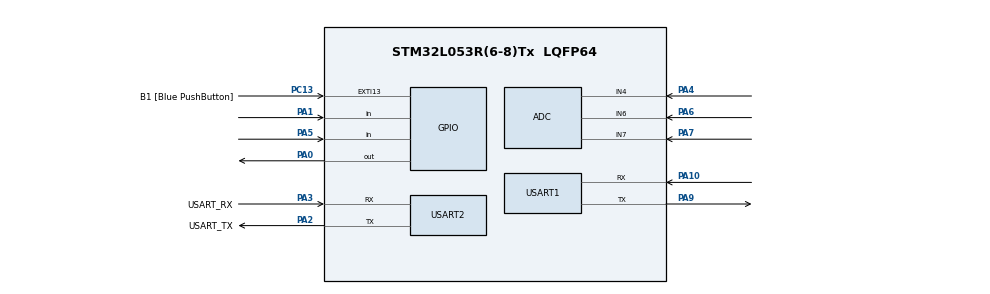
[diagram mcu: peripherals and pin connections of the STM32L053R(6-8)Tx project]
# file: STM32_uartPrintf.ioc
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ADC.ClockPrescaler=ADC_CLOCK_ASYNC_DIV16
ADC.SamplingTime=ADC_SAMPLETIME_160CYCLES_5
Mcu.Family=STM32L0
Mcu.Name=STM32L053R(6-8)Tx
Mcu.Package=LQFP64
NVIC.USART1_IRQn=true\:0\:0\:false\:false\:true\:true\:true\:true
NVIC.USART2_IRQn=true\:0\:0\:false\:false\:true\:true\:true\:true
PA0.Signal=GPIO_Output
PA1.GPIO_Mode=GPIO_MODE_INPUT
PA1.Signal=GPIO_Input
PA10.Mode=Asynchronous
PA10.Signal=USART1_RX
PA13.GPIO_Label=TMS
PA13.Mode=Serial_Wire
PA13.Signal=SYS_SWDIO
PA14.GPIO_Label=TCK
PA14.Mode=Serial_Wire
PA14.Signal=SYS_SWCLK
PA2.GPIO_Label=USART_TX
PA2.Mode=Asynchronous
PA2.Signal=USART2_TX
PA3.GPIO_Label=USART_RX
PA3.Mode=Asynchronous
PA3.Signal=USART2_RX
PA4.Mode=IN4
PA4.Signal=ADC_IN4
PA5.Signal=GPIO_Input
PA6.Mode=IN6
PA6.Signal=ADC_IN6
PA7.Mode=IN7
PA7.Signal=ADC_IN7
PA9.Mode=Asynchronous
PA9.Signal=USART1_TX
PC13.GPIO_Label=B1 [Blue PushButton]
PC13.GPIO_ModeDefaultEXTI=GPIO_MODE_IT_FALLING
PC13.Signal=GPXTI13
PC14-OSC32_IN.Mode=LSE-External-Oscillator
PC14-OSC32_IN.Signal=RCC_OSC32_IN
PC15-OSC32_OUT.Mode=LSE-External-Oscillator
PC15-OSC32_OUT.Signal=RCC_OSC32_OUT
PH0-OSC_IN.Mode=HSE-External-Clock-Source
PH0-OSC_IN.Signal=RCC_OSC_IN
PH1-OSC_OUT.Signal=RCC_OSC_OUT
ProjectManager.HeapSize=0x200
ProjectManager.StackSize=0x400
ProjectManager.TargetToolchain=STM32CubeIDE
RCC.AHBFreq_Value=16000000
RCC.APB1Freq_Value=16000000
RCC.APB1TimFreq_Value=16000000
RCC.APB2Freq_Value=16000000
RCC.APB2TimFreq_Value=16000000
RCC.HCLKFreq_Value=16000000
RCC.HSE_VALUE=8000000
RCC.HSI16_VALUE=16000000
RCC.HSI48_VALUE=48000000
RCC.HSI_VALUE=16000000
RCC.MSI_VALUE=2097000
RCC.SYSCLKFreq_VALUE=16000000
RCC.SYSCLKSource=RCC_SYSCLKSOURCE_HSI
RCC.VCOOutputFreq_Value=48000000
TIM6.Prescaler=15
USART1.VirtualMode-Asynchronous=VM_ASYNC
USART2.VirtualMode-Asynchronous=VM_ASYNC
VP_ADC_TempSens_Input.Mode=IN-TempSens
VP_ADC_Vref_Input.Mode=IN-Vrefint
VP_TIM6_VS_ClockSourceINT.Mode=Enable_Timer
board=NUCLEO-L053R8

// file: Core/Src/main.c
/* USER CODE BEGIN Header */
/**
 ******************************************************************************
 * @file           : main.c
 * @brief          : Main program body
 ******************************************************************************
 * @attention
 *
 * <h2><center>&copy; Copyright (c) 2020 STMicroelectronics.
 * All rights reserved.</center></h2>
 *
 * This software component is licensed by ST under BSD 3-Clause license,
 * the "License"; You may not use this file except in compliance with the
 * License. You may obtain a copy of the License at:
 *                        opensource.org/licenses/BSD-3-Clause
 *
 ******************************************************************************
 */
/* USER CODE END Header */
#include "main.h"
#include "adc.h"
#include "tim.h"
#include "usart.h"
#include "gpio.h"

/* USER CODE BEGIN Includes */
#include <stdio.h>
#include <retarget.h>
#include <getch.h>
/* USER CODE END Includes */

/* USER CODE BEGIN PV */
char *message;
uint8_t plant_hum;
uint8_t plant_bright;
uint8_t plant_temp;
uint8_t esp_status = 0;
uint8_t water_status = 0;
/* USER CODE END PV */

void SystemClock_Config(void);

/* USER CODE BEGIN 0 */
/**
 * @brief waterPlant - Active le transistor pour arroser la plante et affiche un message de confirmation sur la console série.
 *
 * @return void
 */
void waterPlant() {
	LL_GPIO_SetOutputPin(GPIOA, LL_GPIO_PIN_0);
	printf("Arrosage en cours...\r\n");
	HAL_Delay(4000);
	LL_GPIO_ResetOutputPin(GPIOA, LL_GPIO_PIN_0);
	printf("Arrosage effectué\r\n");
}

/**
 * @brief HAL_UART_RxCpltCallback - Fonction de callback appelée lorsque des données ont été reçues sur le port UART. Traite les données reçues en fonction de leur contenu. En cours de développement.
 *
 * @param *huart: pointeur vers le port huart
 *
 * @return void
 */
void HAL_UART_RxCpltCallback(UART_HandleTypeDef *huart) {
	printf("it works");
	// Traitement du message reçu
	if (strstr((char*) message, "restartModule") != NULL) {
		// Instructions pour redémarrer le module
		printf("Redémarrage");
	} else if (strstr((char*) message, "waterPlant") != NULL) {
		// Instructions pour arroser la plante
		waterPlant();
	}

	// Réinitialisation du message
	memset(message, 0, sizeof(message));

	// Préparation à la réception du prochain message
	HAL_UART_Receive_IT(&huart1, (uint8_t*) message, sizeof(message));
}

/**
 @brief Affiche le menu principal du programme MyGarden.
 Affiche les options disponibles pour l'utilisateur.
 Pour afficher la température appuyer sur 't'.
 Pour afficher l'humidité de la terre appuyer sur 'h'.
 Pour afficher le taux d'ensoleillement appuyer sur 'l'.
 Pour arroser la plante appuyer sur 'e'.
 */
void showMainMenu() {
	printf("\r\nMyGarden\r\n");
	printf("Pour afficher la température appuie sur : t\r\n");
	printf("Pour afficher l'humidité de la terre appuie sur : h\r\n");
	printf("Pour afficher le taux d'ensoleillement appuie sur : l\r\n");
	printf("Pour arroser la plante appuie sur : e\r\n");
}

/* USER CODE END 0 */

/**
 * @brief main - Fonction principale du programme.
 *
 * @return int
 */
int main(void) {

	/* MCU Configuration--------------------------------------------------------*/

	/* Reset of all peripherals, Initializes the Flash interface and the Systick. */
	HAL_Init();

	/* USER CODE BEGIN Init */
	__HAL_UART_ENABLE_IT(&huart1, UART_IT_RXNE); // flag receive
	__HAL_UART_ENABLE_IT(&huart1, UART_IT_TC); // flat Tx_IT

	/* USER CODE END Init */

	/* Configure the system clock */
	SystemClock_Config();

	/* Initialize all configured peripherals */
	MX_GPIO_Init();
	MX_USART2_UART_Init();
	MX_ADC_Init();
	MX_TIM6_Init();
	MX_USART1_UART_Init();
	/* USER CODE BEGIN 2 */
	RetargetInit(USART2);
	getchInit();
	LL_USART_EnableIT_RXNE(USART2);

	LL_ADC_Enable(ADC1);
	LL_ADC_SetCommonPathInternalCh(__LL_ADC_COMMON_INSTANCE(ADC1),
	LL_ADC_PATH_INTERNAL_TEMPSENSOR | LL_ADC_PATH_INTERNAL_VREFINT);
	printf("\x1B[2J"); //Clear console (putty)
	// Affiche les possibilités d'action
	showMainMenu();
	HAL_TIM_Base_Start(&htim6);

	MX_GPIO_Init();

	HAL_UART_Receive_IT(&huart1, (uint8_t*) message, sizeof(message));
	/* USER CODE END 2 */

	/* Infinite loop */
	/* USER CODE BEGIN WHILE */
	while (1) {
		if (kbhit()) //if one char received on USART2
		{
			char c = getch();
			if (c == 'h') {
				// humidité terre
				printf("\r\n");
				printf("Vous avez choisi h\r\n");
				printf("Humidité terre: %d%%\r\n", (int) plant_hum);

			} else if (c == 'l') {
				// lumiere
				printf("\r\n");
				printf("Vous avez choisi l\r\n");
				printf("Lumière: %d%%\r\n", plant_bright);

			} else if (c == 'e') {
				// envoie de l'eau
				printf("\r\n");
				printf("Vous avez choisi e\r\n");
				char data[100];
				sprintf(data, "{\"lastWatering\": \"now\"}\r\n");
				HAL_UART_Transmit(&huart1, data, sizeof(data), 150);
				waterPlant();

			} else if (c == 't') {
				// température
				printf("\r\n");
				printf("Vous avez choisi t\r\n");
				printf("Température: %d°C\r\n", plant_temp);

			} else {
				showMainMenu();

			}
		}
		if (esp_status) {
			esp_status = 0;
			char data[100];
			// Préparation du json à envoyer au broker mqtt
			sprintf(data,
					"{\"temperature\": \"%d\", \"dirtHumidity\": \"%d\",\"brightness\": \"%d\"}\r\n",
					plant_temp, plant_hum, plant_bright);
			HAL_UART_Transmit(&huart1, data, sizeof(data), 150);
		}
		if (water_status) {
			printf("\r\n");
			printf("Arrosage automatique car taux d'humidité < 30%% (taux actuel: %d)\r\n",
					water_status);
			water_status = 0;
			char data[100];
			sprintf(data, "{\"lastWatering\": \"now\"}\r\n");
			HAL_UART_Transmit(&huart1, data, sizeof(data), 150);
			waterPlant();
		}
		if (LL_GPIO_IsInputPinSet(B1_GPIO_Port, B1_Pin) == 0) {
			printf("\r\n");
			printf("Bouton pressé, arrosage en cours !\r\n");
			char data[100];
			sprintf(data, "{\"lastWatering\": \"now\"}\r\n");
			HAL_UART_Transmit(&huart1, data, sizeof(data), 150);
			waterPlant();
		}

		/* USER CODE END WHILE */

	}
}

void SystemClock_Config(void) {
	LL_FLASH_SetLatency(LL_FLASH_LATENCY_0);
	while (LL_FLASH_GetLatency() != LL_FLASH_LATENCY_0) {
	}
	LL_PWR_SetRegulVoltageScaling(LL_PWR_REGU_VOLTAGE_SCALE1);
	LL_RCC_HSI_Enable();

	/* Wait till HSI is ready */
	while (LL_RCC_HSI_IsReady() != 1) {

	}
	LL_RCC_HSI_SetCalibTrimming(16);
	LL_RCC_SetAHBPrescaler(LL_RCC_SYSCLK_DIV_1);
	LL_RCC_SetAPB1Prescaler(LL_RCC_APB1_DIV_1);
	LL_RCC_SetAPB2Prescaler(LL_RCC_APB2_DIV_1);
	LL_RCC_SetSysClkSource(LL_RCC_SYS_CLKSOURCE_HSI);

	/* Wait till System clock is ready */
	while (LL_RCC_GetSysClkSource() != LL_RCC_SYS_CLKSOURCE_STATUS_HSI) {

	}
	LL_SetSystemCoreClock(16000000);

	/* Update the time base */
	if (HAL_InitTick(TICK_INT_PRIORITY) != HAL_OK) {
		Error_Handler();
	}
	LL_RCC_SetUSARTClockSource(LL_RCC_USART1_CLKSOURCE_PCLK2);
	LL_RCC_SetUSARTClockSource(LL_RCC_USART2_CLKSOURCE_PCLK1);
}

void Error_Handler(void) {
}
